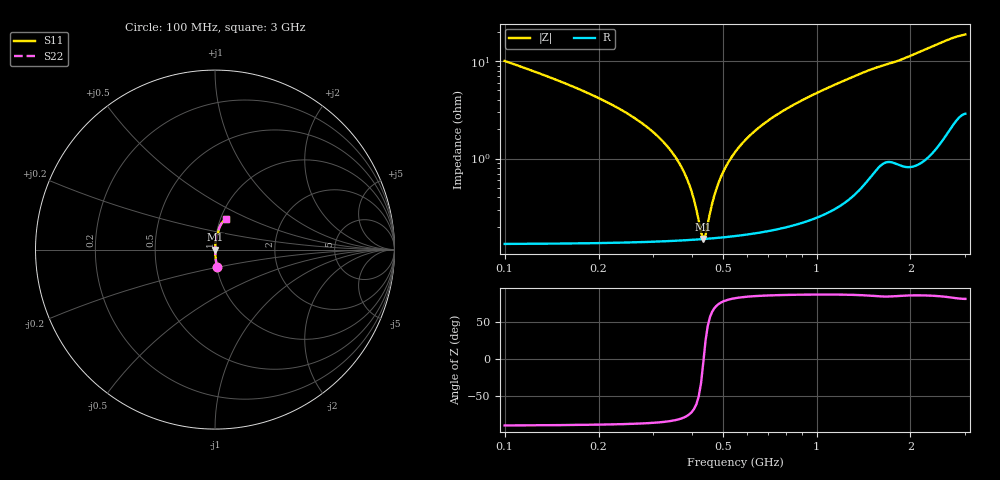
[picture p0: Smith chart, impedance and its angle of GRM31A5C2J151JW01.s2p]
!Murata Part Number: GRM31A5C2J151JW01
!These Parameters are Measured in Series Mode Connection
!Data Generated on Mar 30, 2021
!  o--ll--o
!Port1  Port2
!  o------o
!Operation Temp=25[degC], DC Bias Voltage=0[V]
!Freq. Start=100[MHz] Stop=3[GHz] 401[Steps]
# Hz S RI R 50
!Freq.(Hz) S11(Real) S11(Imag) S21(Real) S21(Imag) S12(Real) S12(Imag) S22(Real) S22(Imag)
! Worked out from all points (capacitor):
!   401 points, 100 MHz to 3 GHz, reference 50 ohm
!   read as one part in series: C = 150 pF near 114.5 MHz
!   lowest |Z| = 150 mohm at 433.5 MHz (marker M1)
!   series resonance near 434.5 MHz, so ESL is about 900 pH
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1e8  0.0113 -0.0992  0.9887 0.0992  0.9887 0.0992  0.0113 -0.0992
2.8125e8  0.00187 -0.0219  0.9981 0.0219  0.9981 0.0219  0.00187 -0.0219
3.3925e8  0.00157 -0.0122  0.9984 0.0122  0.9984 0.0122  0.00157 -0.0122
3.8275e8  0.00149 -0.00621  0.9985 0.00621  0.9985 0.00621  0.00149 -0.00621
3.9725e8  0.00148 -0.00439  0.9985 0.00439  0.9985 0.00439  0.00148 -0.00439
4.19e8  0.00148 -0.00177  0.9985 0.00177  0.9985 0.00177  0.00148 -0.00177
4.2625e8  0.00149 -0.000935  0.9985 0.000935  0.9985 0.000935  0.00149 -0.000935
4.335e8  0.00149 -0.00011  0.9985 0.00011  0.9985 0.00011  0.00149 -0.00011
4.4075e8  0.0015 0.000702  0.9985 -0.000702  0.9985 -0.000702  0.0015 0.000702
4.48e8  0.00151 0.0015  0.9985 -0.0015  0.9985 -0.0015  0.00151 0.0015
4.77e8  0.00155 0.00458  0.9984 -0.00458  0.9984 -0.00458  0.00155 0.00458
4.9875e8  0.0016 0.00678  0.9984 -0.00678  0.9984 -0.00678  0.0016 0.00678
5.35e8  0.00169 0.0103  0.9983 -0.0103  0.9983 -0.0103  0.00169 0.0103
5.8575e8  0.00187 0.0149  0.9981 -0.0149  0.9981 -0.0149  0.00187 0.0149
6.655e8  0.00222 0.0216  0.9978 -0.0216  0.9978 -0.0216  0.00222 0.0216
7.67e8  0.00279 0.0296  0.9972 -0.0296  0.9972 -0.0296  0.00279 0.0296
9.0475e8  0.00379 0.0398  0.9962 -0.0398  0.9962 -0.0398  0.00379 0.0398
1.0715e9  0.00539 0.0516  0.9946 -0.0516  0.9946 -0.0516  0.00539 0.0516
1.55e9  0.0146 0.0834  0.9854 -0.0834  0.9854 -0.0834  0.0146 0.0834
2.03575e9  0.0211 0.1125  0.9789 -0.1125  0.9789 -0.1125  0.0211 0.1125
2.5215e9  0.0374 0.1475  0.9626 -0.1475  0.9626 -0.1475  0.0374 0.1475
3e9  0.0587 0.1697  0.9413 -0.1697  0.9413 -0.1697  0.0587 0.1697
